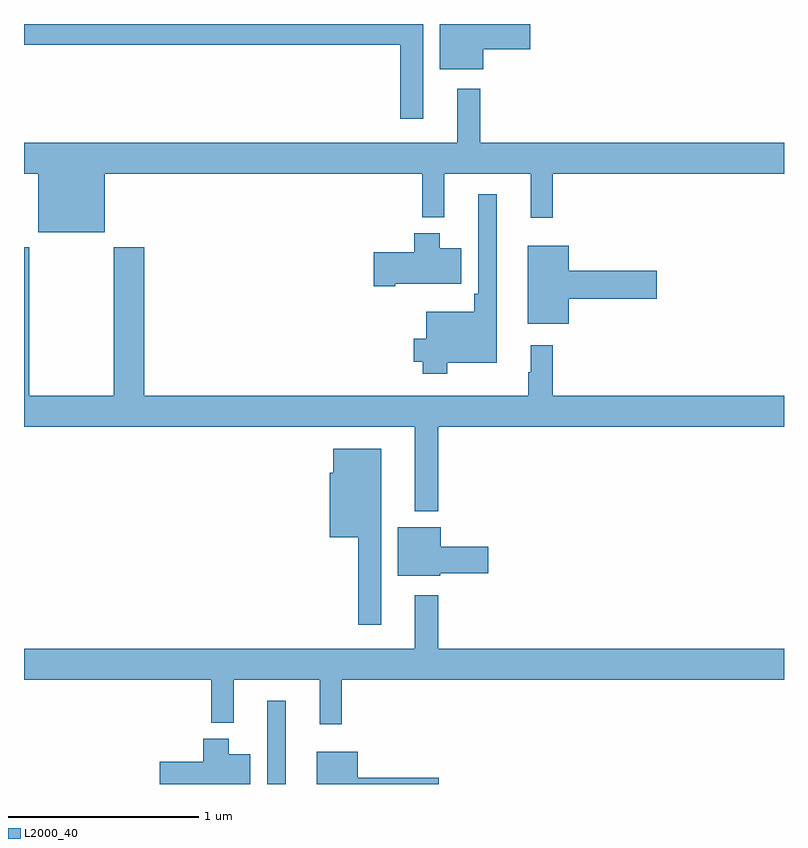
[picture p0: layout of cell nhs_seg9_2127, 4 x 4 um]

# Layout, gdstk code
import gdstk
lib = gdstk.Library(unit=1e-6, precision=1e-09)
def R(c, l, rs):  # rectangles x0, y0, x1, y1
    for r in rs: c.add(gdstk.rectangle(r[:2], r[2:], *l))
def P(c, l, *ps):  # polygons
    for p in ps: c.add(gdstk.Polygon(p, *l))
L2000_40 = (2000, 40)

nhs_seg9_2127 = lib.new_cell('nhs_seg9_2127')
R(nhs_seg9_2127, L2000_40, [(232.281,1234.5,232.378,1234.939)])
P(nhs_seg9_2127, L2000_40, [(233.416,1238.368),(233.665,1238.368),(233.665,1238.5),(233.189,1238.5),(233.189,1238.261),(233.416,1238.261)],
  [(233.101,1238.5),(231,1238.5),(231,1238.392),(232.98,1238.392),(232.98,1238.001),(233.101,1238.001)],
  [(231.424,1237.712),(233.095,1237.712),(233.095,1237.484),(233.213,1237.484),(233.213,1237.712),(233.666,1237.712),(233.666,1237.479),(233.783,1237.479),(233.783,1237.712),(235,1237.712),(235,1237.876),(233.401,1237.876),(233.401,1238.158),(233.279,1238.158),(233.279,1237.876),(231,1237.876),(231,1237.712),(231.074,1237.712),(231.074,1237.403),(231.424,1237.403)],
  [(233.227,1236.716),(233.488,1236.716),(233.488,1237.603),(233.391,1237.603),(233.391,1237.081),(233.371,1237.081),(233.371,1236.985),(233.117,1236.985),(233.117,1236.844),(233.051,1236.844),(233.051,1236.722),(233.098,1236.722),(233.098,1236.659),(233.227,1236.659)],
  [(232.954,1237.133),(233.302,1237.133),(233.302,1237.321),(233.188,1237.321),(233.188,1237.399),(233.054,1237.399),(233.054,1237.299),(232.842,1237.299),(232.842,1237.121),(232.954,1237.121)],
  [(233.866,1237.055),(234.331,1237.055),(234.331,1237.202),(233.866,1237.202),(233.866,1237.333),(233.651,1237.333),(233.651,1236.923),(233.866,1236.923)],
  [(233.179,1236.38),(235,1236.38),(235,1236.544),(233.783,1236.544),(233.783,1236.808),(233.666,1236.808),(233.666,1236.668),(233.655,1236.668),(233.655,1236.544),(231.632,1236.544),(231.632,1237.324),(231.472,1237.324),(231.472,1236.544),(231.027,1236.544),(231.027,1237.324),(231,1237.324),(231,1236.38),(233.057,1236.38),(233.057,1235.936),(233.179,1235.936)],
  [(232.879,1236.265),(232.628,1236.265),(232.628,1236.138),(232.61,1236.138),(232.61,1235.798),(232.758,1235.798),(232.758,1235.337),(232.879,1235.337)],
  [(233.19,1235.608),(233.443,1235.608),(233.443,1235.75),(233.194,1235.75),(233.194,1235.851),(232.967,1235.851),(232.967,1235.597),(233.19,1235.597)],
  [(232.673,1235.048),(235,1235.048),(235,1235.212),(233.179,1235.212),(233.179,1235.494),(233.057,1235.494),(233.057,1235.212),(231,1235.212),(231,1235.048),(231.985,1235.048),(231.985,1234.823),(232.103,1234.823),(232.103,1235.048),(232.556,1235.048),(232.556,1234.815),(232.673,1234.815)],
  [(232.192,1234.657),(232.078,1234.657),(232.078,1234.738),(231.944,1234.738),(231.944,1234.617),(231.714,1234.617),(231.714,1234.5),(232.192,1234.5)],
  [(233.182,1234.532),(232.756,1234.532),(232.756,1234.669),(232.541,1234.669),(232.541,1234.5),(233.182,1234.5)])

lib.write_gds('nhs_seg9_2127.gds')
